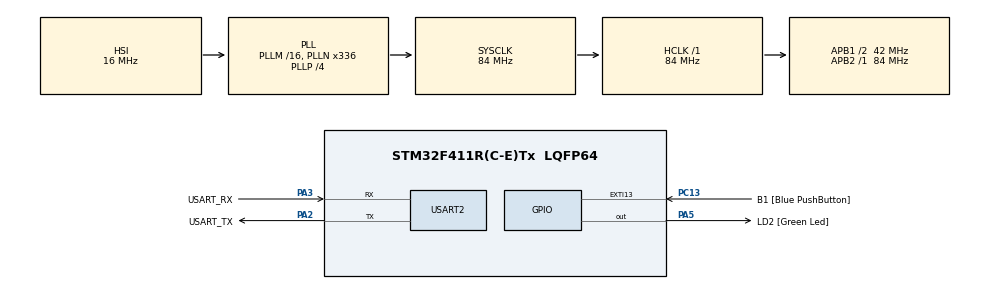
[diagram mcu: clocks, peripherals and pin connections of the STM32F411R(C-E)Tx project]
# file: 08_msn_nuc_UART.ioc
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Mcu.Family=STM32F4
Mcu.Name=STM32F411R(C-E)Tx
Mcu.Package=LQFP64
NVIC.PriorityGroup=NVIC_PRIORITYGROUP_0
PA13.GPIO_Label=TMS
PA13.Mode=Serial_Wire
PA13.Signal=SYS_JTMS-SWDIO
PA14.GPIO_Label=TCK
PA14.Mode=Serial_Wire
PA14.Signal=SYS_JTCK-SWCLK
PA2.GPIO_Label=USART_TX
PA2.Mode=Asynchronous
PA2.Signal=USART2_TX
PA3.GPIO_Label=USART_RX
PA3.Mode=Asynchronous
PA3.Signal=USART2_RX
PA5.GPIO_Label=LD2 [Green Led]
PA5.Signal=GPIO_Output
PB3.GPIO_Label=SWO
PB3.Signal=SYS_JTDO-SWO
PC13-ANTI_TAMP.GPIO_Label=B1 [Blue PushButton]
PC13-ANTI_TAMP.GPIO_ModeDefaultEXTI=GPIO_MODE_IT_FALLING
PC13-ANTI_TAMP.Signal=GPXTI13
PC14-OSC32_IN.Mode=LSE-External-Oscillator
PC14-OSC32_IN.Signal=RCC_OSC32_IN
PC15-OSC32_OUT.Mode=LSE-External-Oscillator
PC15-OSC32_OUT.Signal=RCC_OSC32_OUT
PH0\ -\ OSC_IN.Mode=HSE-External-Clock-Source
PH0\ -\ OSC_IN.Signal=RCC_OSC_IN
PH1\ -\ OSC_OUT.Mode=HSE-External-Clock-Source
PH1\ -\ OSC_OUT.Signal=RCC_OSC_OUT
ProjectManager.HeapSize=0x200
ProjectManager.StackSize=0x400
ProjectManager.TargetToolchain=STM32CubeIDE
RCC.48MHZClocksFreq_Value=84000000
RCC.AHBFreq_Value=84000000
RCC.APB1CLKDivider=RCC_HCLK_DIV2
RCC.APB1Freq_Value=42000000
RCC.APB1TimFreq_Value=84000000
RCC.APB2Freq_Value=84000000
RCC.APB2TimFreq_Value=84000000
RCC.CortexFreq_Value=84000000
RCC.FLatency-AdvancedSettings=FLASH_LATENCY_2
RCC.HCLKFreq_Value=84000000
RCC.HSE_VALUE=8000000
RCC.HSI_VALUE=16000000
RCC.PLLN=336
RCC.PLLP=RCC_PLLP_DIV4
RCC.SYSCLKFreq_VALUE=84000000
RCC.SYSCLKSource=RCC_SYSCLKSOURCE_PLLCLK
RCC.VCOOutputFreq_Value=336000000
USART2.VirtualMode=VM_ASYNC
board=NUCLEO-F411RE

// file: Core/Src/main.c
/* USER CODE BEGIN Header */
/**
  ******************************************************************************
  * @file           : main.c
  * @brief          : Main program body
  ******************************************************************************
  * @attention
  *
  * <h2><center>&copy; Copyright (c) 2021 STMicroelectronics.
  * All rights reserved.</center></h2>
  *
  * This software component is licensed by ST under BSD 3-Clause license,
  * the "License"; You may not use this file except in compliance with the
  * License. You may obtain a copy of the License at:
  *                        opensource.org/licenses/BSD-3-Clause
  *
  ******************************************************************************
  */
/* USER CODE END Header */
#include "main.h"
#include "usart.h"
#include "gpio.h"

/* USER CODE BEGIN Includes */
#include "string.h"
#include "stdio.h"
/* USER CODE END Includes */

/* USER CODE BEGIN PV */
uint8_t Message[32];
uint16_t CounterMessage = 0;
/* USER CODE END PV */

void SystemClock_Config(void);
/* USER CODE BEGIN PFP */
void UartLog(char *MSG);
/* USER CODE END PFP */

int main(void)
{

  /* MCU Configuration--------------------------------------------------------*/

  /* Reset of all peripherals, Initializes the Flash interface and the Systick. */
  HAL_Init();

  /* Configure the system clock */
  SystemClock_Config();

  /* Initialize all configured peripherals */
  MX_GPIO_Init();
  MX_USART2_UART_Init();

  /* Infinite loop */
  /* USER CODE BEGIN WHILE */
  while (1)
  {
	  // WYSYLANIE
//	  sprintf((char *) Message, "Witam nr: %d.\r\n", CounterMessage++);
//	  UartLog((char *)Message);
//	  HAL_Delay(2000);

	  if(HAL_UART_Receive(&huart2, Message, 1, 1000) == HAL_OK)
	  {
		  if(Message[0] == 'T')
		  {
			  HAL_GPIO_TogglePin(LD2_GPIO_Port, LD2_Pin);
		  }
		  else if(Message[0] == 'N')
		  {
			  HAL_GPIO_WritePin(LD2_GPIO_Port, LD2_Pin, GPIO_PIN_SET);
		  }
		  else if (Message[0] == 'F')
		  {
			  HAL_GPIO_WritePin(LD2_GPIO_Port, LD2_Pin, GPIO_PIN_RESET);
		  }
		  else
		  {
			  UartLog("Nie znam takiej komendy :(\r\n");
		  }
	  }
	  else
	  {
		  UartLog("Nic nie otrzymalem.\r\n");
	  }

    /* USER CODE END WHILE */

  }
}

void SystemClock_Config(void)
{
  RCC_OscInitTypeDef RCC_OscInitStruct = {0};
  RCC_ClkInitTypeDef RCC_ClkInitStruct = {0};

  /** Configure the main internal regulator output voltage
  */
  __HAL_RCC_PWR_CLK_ENABLE();
  __HAL_PWR_VOLTAGESCALING_CONFIG(PWR_REGULATOR_VOLTAGE_SCALE1);
  /** Initializes the RCC Oscillators according to the specified parameters
  * in the RCC_OscInitTypeDef structure.
  */
  RCC_OscInitStruct.OscillatorType = RCC_OSCILLATORTYPE_HSI;
  RCC_OscInitStruct.HSIState = RCC_HSI_ON;
  RCC_OscInitStruct.HSICalibrationValue = RCC_HSICALIBRATION_DEFAULT;
  RCC_OscInitStruct.PLL.PLLState = RCC_PLL_ON;
  RCC_OscInitStruct.PLL.PLLSource = RCC_PLLSOURCE_HSI;
  RCC_OscInitStruct.PLL.PLLM = 16;
  RCC_OscInitStruct.PLL.PLLN = 336;
  RCC_OscInitStruct.PLL.PLLP = RCC_PLLP_DIV4;
  RCC_OscInitStruct.PLL.PLLQ = 4;
  if (HAL_RCC_OscConfig(&RCC_OscInitStruct) != HAL_OK)
  {
    Error_Handler();
  }
  /** Initializes the CPU, AHB and APB buses clocks
  */
  RCC_ClkInitStruct.ClockType = RCC_CLOCKTYPE_HCLK|RCC_CLOCKTYPE_SYSCLK
                              |RCC_CLOCKTYPE_PCLK1|RCC_CLOCKTYPE_PCLK2;
  RCC_ClkInitStruct.SYSCLKSource = RCC_SYSCLKSOURCE_PLLCLK;
  RCC_ClkInitStruct.AHBCLKDivider = RCC_SYSCLK_DIV1;
  RCC_ClkInitStruct.APB1CLKDivider = RCC_HCLK_DIV2;
  RCC_ClkInitStruct.APB2CLKDivider = RCC_HCLK_DIV1;

  if (HAL_RCC_ClockConfig(&RCC_ClkInitStruct, FLASH_LATENCY_2) != HAL_OK)
  {
    Error_Handler();
  }
}

/* USER CODE BEGIN 4 */
void UartLog(char *Msg){
	  HAL_UART_Transmit(&huart2, (uint8_t *)Msg, strlen(Msg), 1000);
}
/* USER CODE END 4 */

void Error_Handler(void)
{
  __disable_irq();
  while (1)
  {
  }
}

/************************ (C) COPYRIGHT STMicroelectronics *****END OF FILE****/
